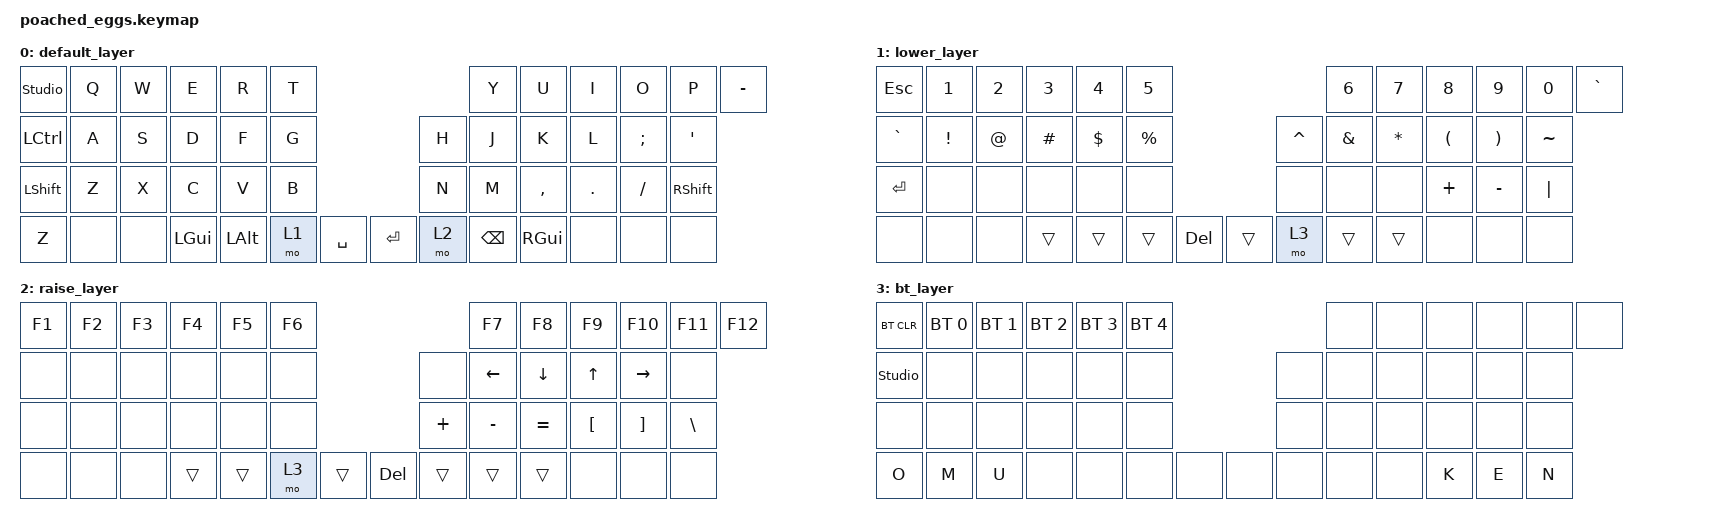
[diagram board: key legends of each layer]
#include <behaviors.dtsi>
#include <dt-bindings/zmk/keys.h>
#include <dt-bindings/zmk/bt.h>

/ {
    keymap {
        compatible = "zmk,keymap";

        default_layer {
            bindings = <
                &studio_unlock     &kp Q       &kp W       &kp E       &kp R       &kp T                                &kp Y       &kp U        &kp I       &kp O       &kp P        &kp MINUS
                &kp LCTRL   &kp A       &kp S       &kp D       &kp F       &kp G                                &kp H       &kp J        &kp K       &kp L       &kp SEMI     &kp SQT
                &kp LSHFT   &kp Z       &kp X       &kp C       &kp V       &kp B                                &kp N       &kp M        &kp COMMA   &kp DOT     &kp FSLH     &kp RSHFT
                &kp Z       &none       &none       &kp LGUI    &kp LALT    &mo 1       &kp SPACE    &kp RET     &mo 2       &kp BSPC     &kp RGUI    &none       &none        &none
            >;
        };

        lower_layer {
            bindings = <
                &kp ESC     &kp N1      &kp N2      &kp N3      &kp N4      &kp N5                              &kp N6      &kp N7      &kp N8      &kp N9      &kp N0      &kp GRAVE
                &kp GRAVE   &kp EXCL    &kp AT      &kp HASH    &kp DOLLAR  &kp PRCNT                           &kp CARET   &kp AMPS    &kp ASTRK   &kp LPAR    &kp RPAR    &kp TILDE
                &kp RET     &none       &none       &none       &none       &none                               &none       &none       &none       &kp PLUS    &kp MINUS   &kp PIPE
                &none       &none       &none       &trans      &trans      &trans      &kp DEL     &trans      &mo 3       &trans      &trans      &none       &none       &none
            >;
        };

        raise_layer {
            bindings = <
                &kp F1      &kp F2      &kp F3      &kp F4      &kp F5      &kp F6                              &kp F7      &kp F8      &kp F9      &kp F10     &kp F11     &kp F12
                &none       &none       &none       &none       &none       &none                               &none       &kp LEFT    &kp DOWN    &kp UP      &kp RIGHT   &none
                &none       &none       &none       &none       &none       &none                               &kp PLUS    &kp MINUS   &kp EQUAL   &kp LBKT    &kp RBKT    &kp BSLH
                &none       &none       &none       &trans      &trans      &mo 3       &trans      &kp DEL     &trans      &trans      &trans      &none       &none       &none
            >;
        };

        bt_layer {
            bindings = <
                &bt BT_CLR      &bt BT_SEL 0 &bt BT_SEL 1 &bt BT_SEL 2 &bt BT_SEL 3 &bt BT_SEL 4                         &none       &none       &none       &none       &none       &none
                &studio_unlock  &none        &none        &none        &none        &none                                &none       &none       &none       &none       &none       &none
                &none           &none        &none        &none        &none        &none                                &none       &none       &none       &none       &none       &none
                &kp O           &kp M        &kp U        &none        &none        &none        &none       &none       &none       &none       &none       &kp K       &kp E       &kp N
            >;
        };
    };
};
